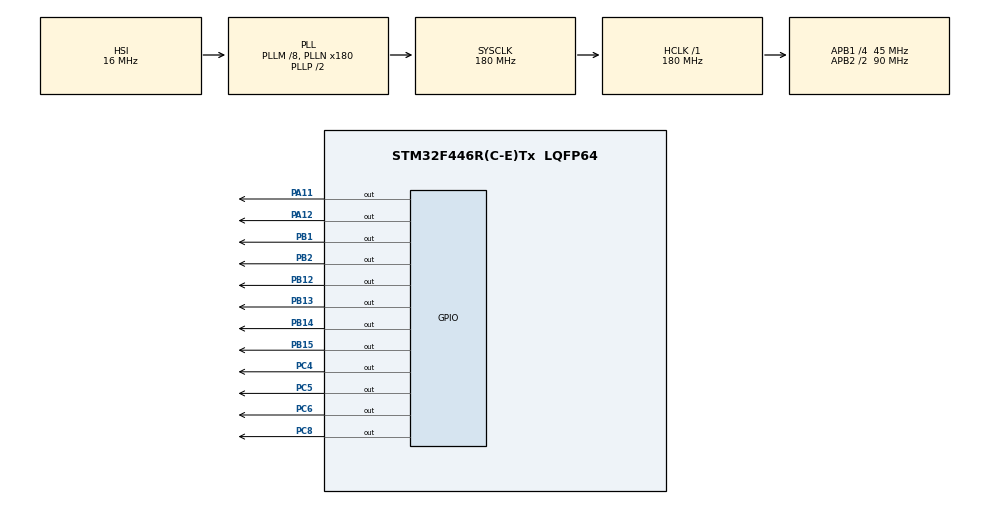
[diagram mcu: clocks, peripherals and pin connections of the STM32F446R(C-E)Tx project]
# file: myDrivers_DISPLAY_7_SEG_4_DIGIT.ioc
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Mcu.Family=STM32F4
Mcu.Name=STM32F446R(C-E)Tx
Mcu.Package=LQFP64
NVIC.PriorityGroup=NVIC_PRIORITYGROUP_4
NVIC.TIM2_IRQn=true\:0\:0\:false\:false\:true\:true\:true\:true
PA11.GPIO_Speed=GPIO_SPEED_FREQ_VERY_HIGH
PA11.Signal=GPIO_Output
PA12.GPIO_Speed=GPIO_SPEED_FREQ_VERY_HIGH
PA12.Signal=GPIO_Output
PA13.Mode=Serial_Wire
PA13.Signal=SYS_JTMS-SWDIO
PA14.Mode=Serial_Wire
PA14.Signal=SYS_JTCK-SWCLK
PB1.GPIO_Speed=GPIO_SPEED_FREQ_VERY_HIGH
PB1.Signal=GPIO_Output
PB12.GPIO_Speed=GPIO_SPEED_FREQ_VERY_HIGH
PB12.Signal=GPIO_Output
PB13.GPIO_Speed=GPIO_SPEED_FREQ_VERY_HIGH
PB13.Signal=GPIO_Output
PB14.GPIO_Speed=GPIO_SPEED_FREQ_VERY_HIGH
PB14.Signal=GPIO_Output
PB15.GPIO_Speed=GPIO_SPEED_FREQ_VERY_HIGH
PB15.Signal=GPIO_Output
PB2.GPIO_Speed=GPIO_SPEED_FREQ_VERY_HIGH
PB2.Signal=GPIO_Output
PC14-OSC32_IN.Mode=LSE-External-Oscillator
PC14-OSC32_IN.Signal=RCC_OSC32_IN
PC15-OSC32_OUT.Mode=LSE-External-Oscillator
PC15-OSC32_OUT.Signal=RCC_OSC32_OUT
PC4.GPIO_Speed=GPIO_SPEED_FREQ_VERY_HIGH
PC4.Signal=GPIO_Output
PC5.GPIO_Speed=GPIO_SPEED_FREQ_VERY_HIGH
PC5.Signal=GPIO_Output
PC6.GPIO_Speed=GPIO_SPEED_FREQ_VERY_HIGH
PC6.Signal=GPIO_Output
PC8.GPIO_Speed=GPIO_SPEED_FREQ_VERY_HIGH
PC8.Signal=GPIO_Output
PH0-OSC_IN.Mode=HSE-External-Oscillator
PH0-OSC_IN.Signal=RCC_OSC_IN
PH1-OSC_OUT.Mode=HSE-External-Oscillator
PH1-OSC_OUT.Signal=RCC_OSC_OUT
ProjectManager.HeapSize=0x200
ProjectManager.StackSize=0x400
ProjectManager.TargetToolchain=STM32CubeIDE
RCC.AHBFreq_Value=180000000
RCC.APB1CLKDivider=RCC_HCLK_DIV4
RCC.APB1Freq_Value=45000000
RCC.APB1TimFreq_Value=90000000
RCC.APB2CLKDivider=RCC_HCLK_DIV2
RCC.APB2Freq_Value=90000000
RCC.APB2TimFreq_Value=180000000
RCC.CortexFreq_Value=180000000
RCC.HCLKFreq_Value=180000000
RCC.PLLM=8
RCC.PLLN=180
RCC.SYSCLKFreq_VALUE=180000000
RCC.SYSCLKSource=RCC_SYSCLKSOURCE_PLLCLK
RCC.USBFreq_Value=180000000
RCC.VCOOutputFreq_Value=360000000
TIM2.AutoReloadPreload=TIM_AUTORELOAD_PRELOAD_ENABLE
TIM2.Period=24
TIM2.Prescaler=7499
VP_TIM2_VS_ClockSourceINT.Mode=Internal
board=custom

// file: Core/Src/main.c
/* USER CODE BEGIN Header */
/**
  ******************************************************************************
  * @file           : main.c
  * @brief          : Main program body
  ******************************************************************************
  * @attention
  *
  * Copyright (c) 2025 STMicroelectronics.
  * All rights reserved.
  *
  * This software is licensed under terms that can be found in the LICENSE file
  * in the root directory of this software component.
  * If no LICENSE file comes with this software, it is provided AS-IS.
  *
  ******************************************************************************
  */
/* USER CODE END Header */
#include "main.h"

/* USER CODE BEGIN Includes */
#include "DISPLAY.h"
/* USER CODE END Includes */

/* USER CODE BEGIN PD */
extern DISPLAY_TypeDef_t DISPLAY;
/* USER CODE END PD */

TIM_HandleTypeDef htim2;

void SystemClock_Config(void);
static void MX_GPIO_Init(void);
static void MX_TIM2_Init(void);

/* USER CODE BEGIN 0 */
void HAL_TIM_PeriodElapsedCallback(TIM_HandleTypeDef *htim)
{
    if (htim->Instance == TIM2)
    {
    	DISPLAY_allSegmentOFF();
    	if(DISPLAY.tempCounter <= DISPLAY.scanTime){
    		DISPLAY_writeDigit(DISPLAY.digitBuffer[DISPLAY.tempCounter]);
    		DISPLAY_selectDigit(DISPLAY.tempCounter + 1);
    	}
    	DISPLAY.tempCounter++;
    	if(DISPLAY.tempCounter > DISPLAY.scanTime){
    		DISPLAY.tempCounter = 0;
    	}
    }
}
/* USER CODE END 0 */

int main(void)
{

  /* MCU Configuration--------------------------------------------------------*/

  /* Reset of all peripherals, Initializes the Flash interface and the Systick. */
  HAL_Init();

  /* Configure the system clock */
  SystemClock_Config();

  /* Initialize all configured peripherals */
  MX_GPIO_Init();
  MX_TIM2_Init();
  /* USER CODE BEGIN 2 */
  DISPLAY_init(&htim2, GPIOC, GPIO_PIN_8,
		  	  	  	  	 	 	    GPIOB, GPIO_PIN_1,
									GPIOB, GPIO_PIN_15,
									GPIOC, GPIO_PIN_4,
									GPIOB, GPIO_PIN_13,
									GPIOB, GPIO_PIN_2,
									GPIOC, GPIO_PIN_5,
									GPIOA, GPIO_PIN_11,
									GPIOB, GPIO_PIN_12,
									GPIOB, GPIO_PIN_14,
									GPIOC, GPIO_PIN_6,
									GPIOA, GPIO_PIN_12);

  DISPLAY_write(1234);
  /* USER CODE END 2 */

  /* Infinite loop */
  while (1)
  {

  }
}

void SystemClock_Config(void)
{
  RCC_OscInitTypeDef RCC_OscInitStruct = {0};
  RCC_ClkInitTypeDef RCC_ClkInitStruct = {0};

  /** Configure the main internal regulator output voltage
  */
  __HAL_RCC_PWR_CLK_ENABLE();
  __HAL_PWR_VOLTAGESCALING_CONFIG(PWR_REGULATOR_VOLTAGE_SCALE1);

  /** Initializes the RCC Oscillators according to the specified parameters
  * in the RCC_OscInitTypeDef structure.
  */
  RCC_OscInitStruct.OscillatorType = RCC_OSCILLATORTYPE_HSI;
  RCC_OscInitStruct.HSIState = RCC_HSI_ON;
  RCC_OscInitStruct.HSICalibrationValue = RCC_HSICALIBRATION_DEFAULT;
  RCC_OscInitStruct.PLL.PLLState = RCC_PLL_ON;
  RCC_OscInitStruct.PLL.PLLSource = RCC_PLLSOURCE_HSI;
  RCC_OscInitStruct.PLL.PLLM = 8;
  RCC_OscInitStruct.PLL.PLLN = 180;
  RCC_OscInitStruct.PLL.PLLP = RCC_PLLP_DIV2;
  RCC_OscInitStruct.PLL.PLLQ = 2;
  RCC_OscInitStruct.PLL.PLLR = 2;
  if (HAL_RCC_OscConfig(&RCC_OscInitStruct) != HAL_OK)
  {
    Error_Handler();
  }

  /** Activate the Over-Drive mode
  */
  if (HAL_PWREx_EnableOverDrive() != HAL_OK)
  {
    Error_Handler();
  }

  /** Initializes the CPU, AHB and APB buses clocks
  */
  RCC_ClkInitStruct.ClockType = RCC_CLOCKTYPE_HCLK|RCC_CLOCKTYPE_SYSCLK
                              |RCC_CLOCKTYPE_PCLK1|RCC_CLOCKTYPE_PCLK2;
  RCC_ClkInitStruct.SYSCLKSource = RCC_SYSCLKSOURCE_PLLCLK;
  RCC_ClkInitStruct.AHBCLKDivider = RCC_SYSCLK_DIV1;
  RCC_ClkInitStruct.APB1CLKDivider = RCC_HCLK_DIV4;
  RCC_ClkInitStruct.APB2CLKDivider = RCC_HCLK_DIV2;

  if (HAL_RCC_ClockConfig(&RCC_ClkInitStruct, FLASH_LATENCY_5) != HAL_OK)
  {
    Error_Handler();
  }
}

static void MX_TIM2_Init(void)
{

  TIM_ClockConfigTypeDef sClockSourceConfig = {0};
  TIM_MasterConfigTypeDef sMasterConfig = {0};

  htim2.Instance = TIM2;
  htim2.Init.Prescaler = 7499;
  htim2.Init.CounterMode = TIM_COUNTERMODE_UP;
  htim2.Init.Period = 24;
  htim2.Init.ClockDivision = TIM_CLOCKDIVISION_DIV1;
  htim2.Init.AutoReloadPreload = TIM_AUTORELOAD_PRELOAD_ENABLE;
  if (HAL_TIM_Base_Init(&htim2) != HAL_OK)
  {
    Error_Handler();
  }
  sClockSourceConfig.ClockSource = TIM_CLOCKSOURCE_INTERNAL;
  if (HAL_TIM_ConfigClockSource(&htim2, &sClockSourceConfig) != HAL_OK)
  {
    Error_Handler();
  }
  sMasterConfig.MasterOutputTrigger = TIM_TRGO_RESET;
  sMasterConfig.MasterSlaveMode = TIM_MASTERSLAVEMODE_DISABLE;
  if (HAL_TIMEx_MasterConfigSynchronization(&htim2, &sMasterConfig) != HAL_OK)
  {
    Error_Handler();
  }

}

static void MX_GPIO_Init(void)
{
  GPIO_InitTypeDef GPIO_InitStruct = {0};

  /* GPIO Ports Clock Enable */
  __HAL_RCC_GPIOC_CLK_ENABLE();
  __HAL_RCC_GPIOH_CLK_ENABLE();
  __HAL_RCC_GPIOB_CLK_ENABLE();
  __HAL_RCC_GPIOA_CLK_ENABLE();

  /*Configure GPIO pin Output Level */
  HAL_GPIO_WritePin(GPIOC, GPIO_PIN_4|GPIO_PIN_5|GPIO_PIN_6|GPIO_PIN_8, GPIO_PIN_RESET);

  /*Configure GPIO pin Output Level */
  HAL_GPIO_WritePin(GPIOB, GPIO_PIN_1|GPIO_PIN_2|GPIO_PIN_12|GPIO_PIN_13
                          |GPIO_PIN_14|GPIO_PIN_15, GPIO_PIN_RESET);

  /*Configure GPIO pin Output Level */
  HAL_GPIO_WritePin(GPIOA, GPIO_PIN_11|GPIO_PIN_12, GPIO_PIN_RESET);

  /*Configure GPIO pins : PC4 PC5 PC6 PC8 */
  GPIO_InitStruct.Pin = GPIO_PIN_4|GPIO_PIN_5|GPIO_PIN_6|GPIO_PIN_8;
  GPIO_InitStruct.Mode = GPIO_MODE_OUTPUT_PP;
  GPIO_InitStruct.Pull = GPIO_NOPULL;
  GPIO_InitStruct.Speed = GPIO_SPEED_FREQ_VERY_HIGH;
  HAL_GPIO_Init(GPIOC, &GPIO_InitStruct);

  /*Configure GPIO pins : PB1 PB2 PB12 PB13
                           PB14 PB15 */
  GPIO_InitStruct.Pin = GPIO_PIN_1|GPIO_PIN_2|GPIO_PIN_12|GPIO_PIN_13
                          |GPIO_PIN_14|GPIO_PIN_15;
  GPIO_InitStruct.Mode = GPIO_MODE_OUTPUT_PP;
  GPIO_InitStruct.Pull = GPIO_NOPULL;
  GPIO_InitStruct.Speed = GPIO_SPEED_FREQ_VERY_HIGH;
  HAL_GPIO_Init(GPIOB, &GPIO_InitStruct);

  /*Configure GPIO pins : PA11 PA12 */
  GPIO_InitStruct.Pin = GPIO_PIN_11|GPIO_PIN_12;
  GPIO_InitStruct.Mode = GPIO_MODE_OUTPUT_PP;
  GPIO_InitStruct.Pull = GPIO_NOPULL;
  GPIO_InitStruct.Speed = GPIO_SPEED_FREQ_VERY_HIGH;
  HAL_GPIO_Init(GPIOA, &GPIO_InitStruct);

}

void Error_Handler(void)
{
  __disable_irq();
  while (1)
  {
  }
}
